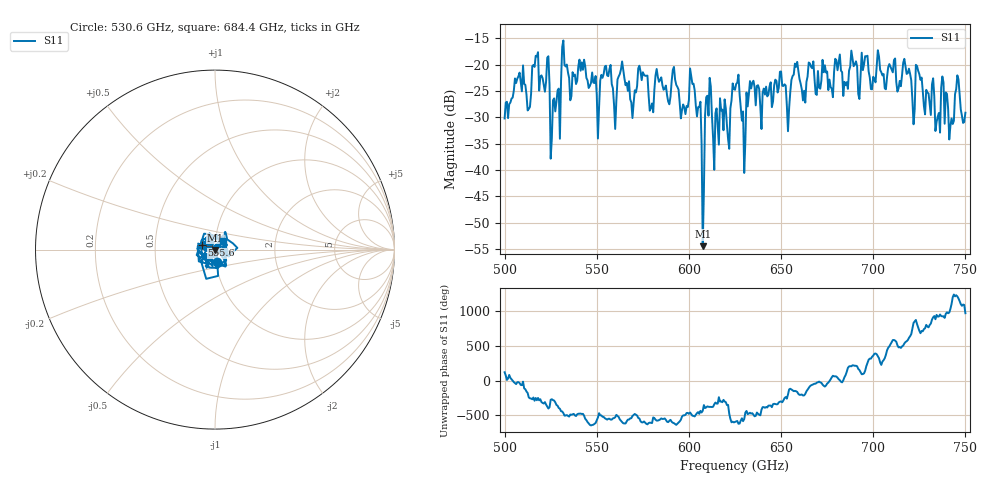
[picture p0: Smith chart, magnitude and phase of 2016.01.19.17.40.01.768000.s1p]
!Created with skrf (http://scikit-rf.org).
# GHz S RI R 50.0
!freq ReS11 ImS11
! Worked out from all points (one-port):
!   401 points, 500 GHz to 750 GHz, reference 50 ohm
!   lowest |S11| = -54.4 dB at 607.5 GHz (marker M1), VSWR 1.00, Z = 50.1 - j0.182 ohm
!   |S11| at or under -10 dB: start of sweep to end of sweep
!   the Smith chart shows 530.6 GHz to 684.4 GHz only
!   S11 on the Smith chart (normalised r, x): 530.6 GHz: 1.01, -0.14; 555.6 GHz: 0.86, +0.05; 684.4 GHz: 1.09, +0.11
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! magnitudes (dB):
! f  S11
! 500 GHz  -30.2
! 506.9 GHz  -22.6
! 513.1 GHz  -28.4
! 516.9 GHz  -18.3
! 526.2 GHz  -26.7
! 530.6 GHz  -23.0
! 531.2 GHz  -16.6
! 550 GHz  -25.7
! 555.6 GHz  -22.0
! 559.4 GHz  -27.6
! 562.5 GHz  -21.8
! 593.8 GHz  -24.2
! 601.9 GHz  -23.6
! 607.5 GHz  -54.4
! 610.6 GHz  -29.7
! 615 GHz  -28.3
! 625 GHz  -24.8
! 629.4 GHz  -28.9
! 634.4 GHz  -23.4
! 656.2 GHz  -22.1
! 684.4 GHz  -23.2
! 687.5 GHz  -20.4
! 718.8 GHz  -21.6
! 735 GHz  -29.8
! 738.1 GHz  -23.4
! 742.5 GHz  -30.2
! 745.6 GHz  -22.0
! 750 GHz  -29.1
